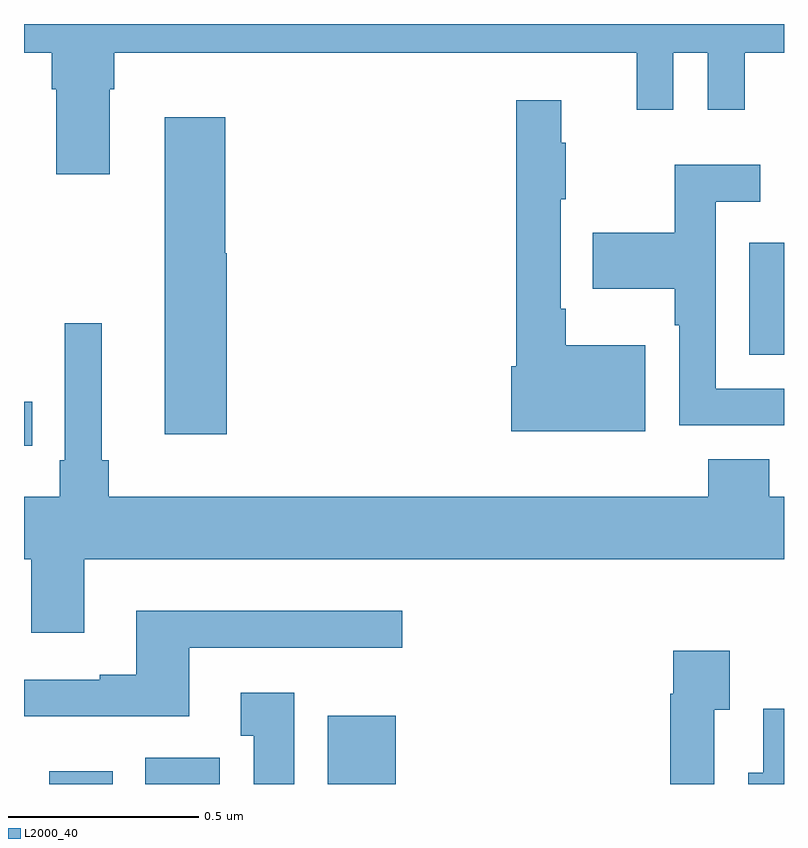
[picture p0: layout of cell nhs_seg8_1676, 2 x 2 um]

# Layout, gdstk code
import gdstk
lib = gdstk.Library(unit=1e-6, precision=1e-09)
def R(c, l, rs):  # rectangles x0, y0, x1, y1
    for r in rs: c.add(gdstk.rectangle(r[:2], r[2:], *l))
def P(c, l, *ps):  # polygons
    for p in ps: c.add(gdstk.Polygon(p, *l))
L2000_40 = (2000, 40)

nhs_seg8_1676 = lib.new_cell('nhs_seg8_1676')
R(nhs_seg8_1676, L2000_40, [(133.067,1123.9,133.234,1123.933), (133.319,1123.9,133.515,1123.969), (133.799,1123.9,133.978,1124.08), (133,1124.79,133.022,1124.906), (134.909,1125.029,135,1125.325)])
P(nhs_seg8_1676, L2000_40, [(133.225,1125.728),(133.238,1125.728),(133.238,1125.824),(134.612,1125.824),(134.612,1125.675),(134.709,1125.675),(134.709,1125.824),(134.799,1125.824),(134.799,1125.675),(134.897,1125.675),(134.897,1125.824),(135,1125.824),(135,1125.9),(133,1125.9),(133,1125.824),(133.073,1125.824),(133.073,1125.728),(133.085,1125.728),(133.085,1125.504),(133.225,1125.504)],
  [(134.635,1125.055),(134.425,1125.055),(134.425,1125.151),(134.412,1125.151),(134.412,1125.439),(134.425,1125.439),(134.425,1125.587),(134.414,1125.587),(134.414,1125.7),(134.296,1125.7),(134.296,1124.999),(134.282,1124.999),(134.282,1124.828),(134.635,1124.828)],
  [(133.534,1125.297),(133.529,1125.297),(133.529,1125.655),(133.37,1125.655),(133.37,1124.82),(133.534,1124.82)],
  [(135,1124.94),(134.82,1124.94),(134.82,1125.432),(134.938,1125.432),(134.938,1125.529),(134.712,1125.529),(134.712,1125.351),(134.497,1125.351),(134.497,1125.203),(134.712,1125.203),(134.712,1125.107),(134.724,1125.107),(134.724,1124.844),(135,1124.844)],
  [(133.159,1124.492),(135,1124.492),(135,1124.656),(134.961,1124.656),(134.961,1124.755),(134.801,1124.755),(134.801,1124.656),(133.223,1124.656),(133.223,1124.752),(133.204,1124.752),(133.204,1125.112),(133.107,1125.112),(133.107,1124.752),(133.094,1124.752),(133.094,1124.656),(133,1124.656),(133,1124.492),(133.019,1124.492),(133.019,1124.298),(133.159,1124.298)],
  [(133.435,1124.259),(133.996,1124.259),(133.996,1124.356),(133.295,1124.356),(133.295,1124.188),(133.199,1124.188),(133.199,1124.175),(133,1124.175),(133,1124.078),(133.435,1124.078)],
  [(134.817,1124.095),(134.857,1124.095),(134.857,1124.251),(134.709,1124.251),(134.709,1124.138),(134.701,1124.138),(134.701,1123.9),(134.817,1123.9)],
  [(133.711,1124.14),(133.571,1124.14),(133.571,1124.027),(133.604,1124.027),(133.604,1123.9),(133.711,1123.9)],
  [(135,1124.098),(134.945,1124.098),(134.945,1123.93),(134.906,1123.93),(134.906,1123.9),(135,1123.9)])

lib.write_gds('nhs_seg8_1676.gds')
